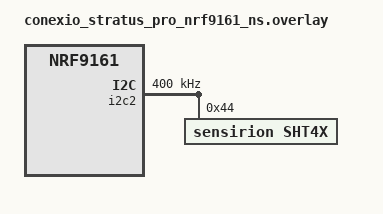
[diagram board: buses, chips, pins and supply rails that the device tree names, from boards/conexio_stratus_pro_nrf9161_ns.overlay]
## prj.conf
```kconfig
#
# Copyright (c) 2024 Conexio Technologies, Inc
#
# SPDX-License-Identifier: Apache-2.0
#

CONFIG_STDOUT_CONSOLE=y

# Adding I2C
CONFIG_I2C=y

# Add the accelerometer
CONFIG_SENSOR=y
CONFIG_LIS2DH=y
CONFIG_CBPRINTF_FP_SUPPORT=y

# newlibc for printing floats
CONFIG_NEWLIB_LIBC=y
CONFIG_NEWLIB_LIBC_FLOAT_PRINTF=y

# For LED
CONFIG_GPIO=y

# Enable SHT4X sensor if available
CONFIG_SHT4X=n
CONFIG_PM_DEVICE=n

# Enable Zephyr application to be booted by MCUboot
CONFIG_BOOTLOADER_MCUBOOT=y
```

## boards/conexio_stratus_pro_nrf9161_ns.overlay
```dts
/*
 * Copyright (c) 2024 Conexio Technologies, Inc
 *
 * SPDX-License-Identifier: Apache-2.0
 */

/*
 * Stratus Pro nRF9161 device overlay configuration for SHT4x sensor connected to QWIIC port
 *
 */
&i2c2 {
	status = "okay";
	clock-frequency = <I2C_BITRATE_FAST>;
	sht4x@44 {
		status = "okay";
		compatible = "sensirion,sht4x";
		reg = <0x44>;
		repeatability = <2>;
	};
};
```

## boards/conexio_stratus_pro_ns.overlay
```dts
/*
 * Copyright (c) 2024 Conexio Technologies, Inc
 *
 * SPDX-License-Identifier: Apache-2.0
 */

/*
 * Stratus Pro device overlay configuration for SHT4x sensor connected to QWIIC port
 *
 */
&i2c2 {
	status = "okay";
	clock-frequency = <I2C_BITRATE_FAST>;
	sht4x@44 {
		status = "okay";
		compatible = "sensirion,sht4x";
		reg = <0x44>;
		repeatability = <2>;
	};
};
```

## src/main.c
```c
/*
 * Copyright (c) 2025 Conexio Technologies, Inc.
 * Author: Rajeev Piyare <rajeev@conexiotech.com>
 *
 * SPDX-License-Identifier: Apache-2.0
 */

#include <stdio.h>
#include <zephyr/kernel.h>
#include <zephyr/device.h>
#include <zephyr/drivers/sensor.h>
#include <zephyr/drivers/gpio.h>

#if defined(CONFIG_SHT4X)
#include <zephyr/drivers/sensor/sht4x.h>
#if !DT_HAS_COMPAT_STATUS_OKAY(sensirion_sht4x)
#error "No sensirion,sht4x compatible node found in the device tree"
#endif
#endif /* CONFIG_SHT4X */

#define GPIO_NODE	DT_NODELABEL(gpio0)

/* The devicetree node identifier for the "led0" alias. */
#define RED_LED DT_ALIAS(led0)

#define LED_OFF 0
#define LED_ON !LED_OFF

static struct gpio_dt_spec red_led = GPIO_DT_SPEC_GET(RED_LED, gpios);
static const struct device *gpio_dev;

void init_led(void)
{
	gpio_pin_configure_dt(&red_led, GPIO_OUTPUT_INACTIVE);
}

void blink_led(void)
{
	// Blink the white LED on Stratus Pro nRF9151/nRF9161 board
	// Red on Stratus nRF9160 board
	gpio_pin_set_dt(&red_led, LED_ON);
	k_msleep(500);
	gpio_pin_set_dt(&red_led, LED_OFF);
	k_msleep(500);
}

#if defined(CONFIG_SHT4X)
static void fetch_and_display_sht4x(const struct device *sensor)
{
	struct sensor_value temp, hum;
	if (sensor_sample_fetch(sensor)) {
		printf("Failed to fetch sample from SHT4X device\n");
	}

	sensor_channel_get(sensor, SENSOR_CHAN_AMBIENT_TEMP, &temp);
	sensor_channel_get(sensor, SENSOR_CHAN_HUMIDITY, &hum);
	printf("SHT4X: Temp: %d.%06d degC; RH: %d.%06d %%\n", temp.val1, temp.val2, hum.val1, hum.val2);
}
#endif /* CONFIG_SHT4X */

static void fetch_and_display_accel(const struct device *sensor)
{
	static unsigned int count;
	struct sensor_value accel[3];
	int rc = sensor_sample_fetch(sensor);

	++count;
	if (rc == -EBADMSG) {
		/* Sample overrun.  Ignore in polled mode. */
		rc = 0;
	}
	if (rc == 0) {
		rc = sensor_channel_get(sensor,
					SENSOR_CHAN_ACCEL_XYZ,
					accel);
	}
	if (rc < 0) {
		printf("ERROR: Update failed: %d\n", rc);
	} else {
		printf("#%u, uptime: %u ms, x %f, y: %f, z: %f\n",
		       count, k_uptime_get_32(),
		       sensor_value_to_double(&accel[0]),
		       sensor_value_to_double(&accel[1]),
		       sensor_value_to_double(&accel[2]));
	}
}

int main(void)
{
	printf("Conexio Stratus multi sensor example\n");
	//LED setup
	gpio_dev = DEVICE_DT_GET(GPIO_NODE);

	if (!gpio_dev) {
		printk("Error getting LED GPIO device binding\r\n");
		return 0;
	}

	init_led();

	//accelerometer setup
	const struct device *lis2dh_sensor = DEVICE_DT_GET_ANY(st_lis2dh);

	if (lis2dh_sensor == NULL) {
		printf("No device found\n");
		return 0;
	}
	if (!device_is_ready(lis2dh_sensor)) {
		printf("Device %s is not ready\n", lis2dh_sensor->name);
		return 0;
	}

#if defined(CONFIG_SHT4X)
	//sht4x setup
	const struct device *sht = DEVICE_DT_GET_ANY(sensirion_sht4x);
	
	if (!device_is_ready(sht)) {
		printf("Device %s is not ready.\n", sht->name);
		return 0;
	}
#endif /* CONFIG_SHT4X */

	while (true) {
		blink_led();
		fetch_and_display_accel(lis2dh_sensor);
		k_sleep(K_MSEC(500));

#if defined(CONFIG_SHT4X)
		fetch_and_display_sht4x(sht);
		k_sleep(K_MSEC(2000));
#endif /* CONFIG_SHT4X */

	}
}
```
